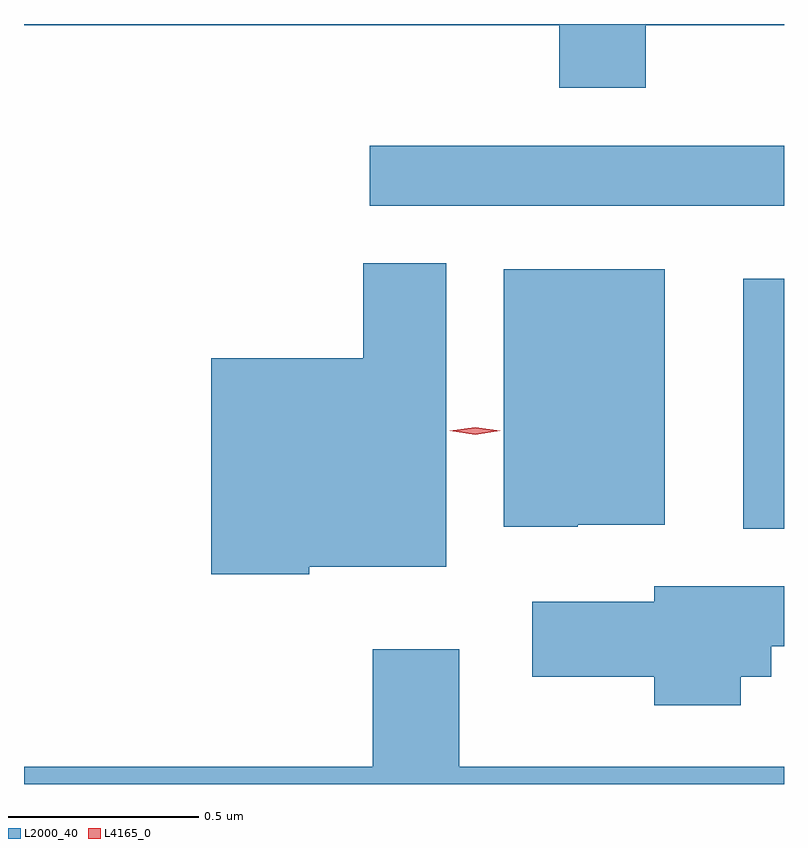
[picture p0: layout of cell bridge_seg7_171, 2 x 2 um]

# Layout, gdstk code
import gdstk
lib = gdstk.Library(unit=1e-6, precision=1e-09)
def R(c, l, rs):  # rectangles x0, y0, x1, y1
    for r in rs: c.add(gdstk.rectangle(r[:2], r[2:], *l))
def P(c, l, *ps):  # polygons
    for p in ps: c.add(gdstk.Polygon(p, *l))
L2000_40 = (2000, 40)
L4165_0 = (4165, 0)

bridge_seg7_171 = lib.new_cell('bridge_seg7_171')
R(bridge_seg7_171, L2000_40, [(1661.516,1728.531,1661.623,1729.189), (1660.533,1729.381,1661.623,1729.539)])
P(bridge_seg7_171, L2000_40, [(1661.259,1729.856),(1661.623,1729.856),(1661.623,1729.859),(1659.623,1729.859),(1659.623,1729.856),(1661.031,1729.856),(1661.031,1729.691),(1661.259,1729.691)],
  [(1660.374,1728.431),(1660.734,1728.431),(1660.734,1729.229),(1660.516,1729.229),(1660.516,1728.979),(1660.116,1728.979),(1660.116,1728.411),(1660.374,1728.411)],
  [(1661.08,1728.541),(1661.309,1728.541),(1661.309,1729.214),(1660.886,1729.214),(1660.886,1728.536),(1661.08,1728.536)],
  [(1661.509,1728.141),(1661.589,1728.141),(1661.589,1728.221),(1661.623,1728.221),(1661.623,1728.379),(1661.281,1728.379),(1661.281,1728.339),(1660.961,1728.339),(1660.961,1728.141),(1661.281,1728.141),(1661.281,1728.066),(1661.509,1728.066)],
  [(1661.623,1727.904),(1660.769,1727.904),(1660.769,1728.214),(1660.541,1728.214),(1660.541,1727.904),(1659.623,1727.904),(1659.623,1727.859),(1661.623,1727.859)])
P(bridge_seg7_171, L4165_0, [(1660.81,1728.778),(1660.744,1728.788),(1660.744,1728.788),(1660.744,1728.788),(1660.81,1728.798),(1660.876,1728.789),(1660.876,1728.789),(1660.876,1728.788)])

lib.write_gds('bridge_seg7_171.gds')
